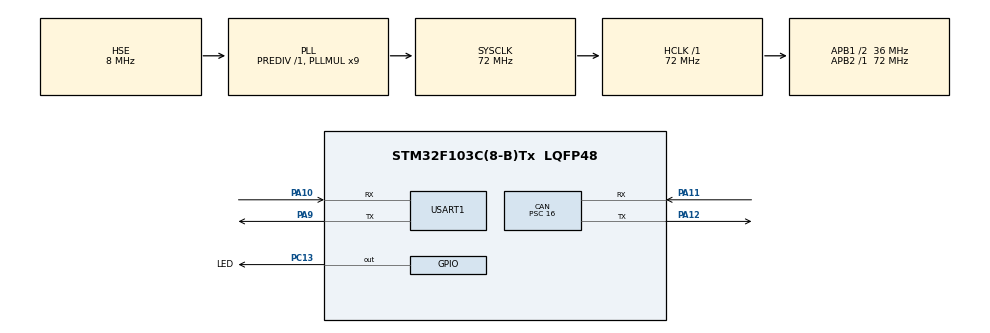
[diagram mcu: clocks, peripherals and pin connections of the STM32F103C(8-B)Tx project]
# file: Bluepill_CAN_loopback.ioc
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CAN.BS1=CAN_BS1_1TQ
CAN.BS2=CAN_BS2_1TQ
CAN.CalculateBaudRate=749999
CAN.CalculateTimeBit=1333
CAN.CalculateTimeQuantum=444.44444444444446
CAN.Mode=CAN_MODE_LOOPBACK
CAN.Prescaler=16
Mcu.Family=STM32F1
Mcu.Name=STM32F103C(8-B)Tx
Mcu.Package=LQFP48
NVIC.CAN1_RX1_IRQn=true\:0\:0\:false\:false\:true\:true\:true\:true
NVIC.CAN1_SCE_IRQn=true\:0\:0\:false\:false\:true\:true\:true\:true
NVIC.PriorityGroup=NVIC_PRIORITYGROUP_4
NVIC.USB_HP_CAN1_TX_IRQn=true\:0\:0\:false\:false\:true\:true\:true\:true
NVIC.USB_LP_CAN1_RX0_IRQn=true\:0\:0\:false\:false\:true\:true\:true\:true
PA10.Mode=Asynchronous
PA10.Signal=USART1_RX
PA11.Mode=CAN_Activate
PA11.Signal=CAN_RX
PA12.Mode=CAN_Activate
PA12.Signal=CAN_TX
PA13.Mode=Serial_Wire
PA13.Signal=SYS_JTMS-SWDIO
PA14.Mode=Serial_Wire
PA14.Signal=SYS_JTCK-SWCLK
PA9.Mode=Asynchronous
PA9.Signal=USART1_TX
PC13-TAMPER-RTC.GPIO_Label=LED
PC13-TAMPER-RTC.Signal=GPIO_Output
PD0-OSC_IN.Mode=HSE-External-Oscillator
PD0-OSC_IN.Signal=RCC_OSC_IN
PD1-OSC_OUT.Mode=HSE-External-Oscillator
PD1-OSC_OUT.Signal=RCC_OSC_OUT
ProjectManager.HeapSize=0x200
ProjectManager.StackSize=0x400
ProjectManager.TargetToolchain=STM32CubeIDE
RCC.AHBFreq_Value=72000000
RCC.APB1CLKDivider=RCC_HCLK_DIV2
RCC.APB1Freq_Value=36000000
RCC.APB1TimFreq_Value=72000000
RCC.APB2Freq_Value=72000000
RCC.APB2TimFreq_Value=72000000
RCC.HCLKFreq_Value=72000000
RCC.PLLMUL=RCC_PLL_MUL9
RCC.PLLSourceVirtual=RCC_PLLSOURCE_HSE
RCC.SYSCLKFreq_VALUE=72000000
RCC.SYSCLKSource=RCC_SYSCLKSOURCE_PLLCLK
RCC.USBFreq_Value=72000000
USART1.VirtualMode=VM_ASYNC
board=custom

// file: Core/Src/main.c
/* USER CODE BEGIN Header */
/**
  ******************************************************************************
  * @file           : main.c
  * @brief          : Main program body
  ******************************************************************************
  * @attention
  *
  * Copyright (c) 2025 STMicroelectronics.
  * All rights reserved.
  *
  * This software is licensed under terms that can be found in the LICENSE file
  * in the root directory of this software component.
  * If no LICENSE file comes with this software, it is provided AS-IS.
  *
  ******************************************************************************
  */
/* USER CODE END Header */
#include "main.h"

/* USER CODE BEGIN Includes */
#include<stdio.h>
#include<string.h>
/* USER CODE END Includes */

/* USER CODE BEGIN PD */
#define CAN_ID_1 0b11001111100  //ID1
#define CAN_ID_2 0b11001111101	//ID2

#define CAN_RX_ID 0b11001111100		//First address  0x67C
#define CAN_RX_MASK 0b11111111100	//Last 2 don't cares. So, 0x67C-FFC is filter's allowable addresses

/* USER CODE END PD */

CAN_HandleTypeDef hcan;

UART_HandleTypeDef huart1;

/* USER CODE BEGIN PV */
CAN_TxHeaderTypeDef TxHeader;
CAN_RxHeaderTypeDef RxHeader;

uint8_t TxData1[8];
char TxData2[]="CAN msg";
uint8_t RxData[8];

uint32_t msg_count = 0;

/* USER CODE END PV */

void SystemClock_Config(void);
static void MX_GPIO_Init(void);
static void MX_CAN_Init(void);
static void MX_USART1_UART_Init(void);

/* USER CODE BEGIN 0 */

int _write(int fd, char *ptr, int len){
	if(fd==1 || fd==2){
		if(HAL_UART_Transmit(&huart1, (uint8_t *)ptr, len, HAL_MAX_DELAY)==HAL_OK) return len;
		else return -1;
	}

	return -1;
}

void HAL_CAN_TxMailbox0CompleteCallback(CAN_HandleTypeDef *hcan) {
    printf("HAL_CAN_TxMailbox0CompleteCallback\r\n");
}

void HAL_CAN_TxMailbox1CompleteCallback(CAN_HandleTypeDef *hcan) {
    printf("HAL_CAN_TxMailbox1CompleteCallback\r\n");
}

void HAL_CAN_TxMailbox2CompleteCallback(CAN_HandleTypeDef *hcan) {
    printf("HAL_CAN_TxMailbox2CompleteCallback\r\n");
}

void HAL_CAN_TxMailbox0AbortCallback(CAN_HandleTypeDef *hcan) {
    printf("HAL_CAN_TxMailbox0AbortCallback\r\n");
}

void HAL_CAN_TxMailbox1AbortCallback(CAN_HandleTypeDef *hcan) {
    printf("HAL_CAN_TxMailbox1AbortCallback\r\n");
}

void HAL_CAN_TxMailbox2AbortCallback(CAN_HandleTypeDef *hcan) {
    printf("HAL_CAN_TxMailbox2AbortCallback\r\n");
}

void HAL_CAN_RxFifo0MsgPendingCallback(CAN_HandleTypeDef *hcan) {
    printf("HAL_CAN_RxFifo0MsgPendingCallback\r\n");
    if (HAL_CAN_GetRxMessage(hcan, CAN_RX_FIFO0, &RxHeader, RxData) == HAL_OK) {
    	if(RxHeader.StdId==CAN_ID_2)
    		printf("Got message %lu - id=0x%04lx type=%lx len=0x%lx, data=0x%02x%02x%02x%02x%02x%02x%02x%02x (Time in s)\r\n",
    				msg_count + 1, RxHeader.StdId, RxHeader.RTR, RxHeader.DLC, RxData[7], RxData[6], RxData[5], RxData[4], RxData[3], RxData[2], RxData[1], RxData[0]);
    	else
    		printf("Got message %lu - id=0x%04lx type=0 len=1 data=%s\r\n", msg_count + 1, RxHeader.StdId, (char *)RxData);
    }
    msg_count++;
}

void HAL_CAN_RxFifo0FullCallback(CAN_HandleTypeDef *hcan) {
    printf("HAL_CAN_RxFifo0FullCallback\r\n");
}

void HAL_CAN_RxFifo1MsgPendingCallback(CAN_HandleTypeDef *hcan) {
    printf("HAL_CAN_RxFifo1MsgPendingCallback\r\n");
}

void HAL_CAN_RxFifo1FullCallback(CAN_HandleTypeDef *hcan) {
    printf("HAL_CAN_RxFifo1FullCallback\r\n");
}

void HAL_CAN_SleepCallback(CAN_HandleTypeDef *hcan) {
    printf("HAL_CAN_SleepCallback\r\n");
}

void HAL_CAN_WakeUpFromRxMsgCallback(CAN_HandleTypeDef *hcan) {
    printf("HAL_CAN_WakeUpFromRxMsgCallback\r\n");
}

void HAL_CAN_ErrorCallback(CAN_HandleTypeDef *hcan) {
    printf("HAL_CAN_ErrorCallback\r\n");
}

/* USER CODE END 0 */

int main(void)
{

  /* MCU Configuration--------------------------------------------------------*/

  /* Reset of all peripherals, Initializes the Flash interface and the Systick. */
  HAL_Init();

  /* Configure the system clock */
  SystemClock_Config();

  /* Initialize all configured peripherals */
  MX_GPIO_Init();
  MX_CAN_Init();
  MX_USART1_UART_Init();
  /* USER CODE BEGIN 2 */
  printf("\n\n\n-------Start-------\r\n");

  CAN_FilterTypeDef filterConfig;

  filterConfig.FilterActivation=CAN_FILTER_ENABLE;
  filterConfig.FilterMode=CAN_FILTERMODE_IDMASK;
  filterConfig.FilterIdLow=CAN_RX_ID<<5;
  filterConfig.FilterMaskIdLow=CAN_RX_MASK<<5;
  filterConfig.FilterBank=0;
  filterConfig.FilterScale=CAN_FILTERSCALE_16BIT;
  filterConfig.FilterFIFOAssignment=CAN_FILTER_FIFO0;

  HAL_CAN_ConfigFilter(&hcan, &filterConfig);

  HAL_CAN_Start(&hcan);

  HAL_CAN_ActivateNotification(
		  &hcan,
		  CAN_IT_TX_MAILBOX_EMPTY |
		  CAN_IT_RX_FIFO0_MSG_PENDING |
		  CAN_IT_RX_FIFO0_FULL |
		  CAN_IT_RX_FIFO0_OVERRUN |
		  CAN_IT_RX_FIFO1_MSG_PENDING |
		  CAN_IT_RX_FIFO1_FULL |
		  CAN_IT_RX_FIFO1_OVERRUN |
		  CAN_IT_WAKEUP |
		  CAN_IT_SLEEP_ACK |
		  CAN_IT_ERROR_WARNING |
		  CAN_IT_ERROR_PASSIVE |
		  CAN_IT_BUSOFF |
		  CAN_IT_LAST_ERROR_CODE |
		  CAN_IT_ERROR
		  );

  uint32_t now=0, nextBlink=500, nextPrint=1000, nextCANtx1=5000, nextCANtx2=10000;

  /* USER CODE END 2 */

  /* Infinite loop */
  /* USER CODE BEGIN WHILE */
  while (1)
  {
	  now=uwTick;

	  uint32_t clockTime=now/1000;

	  if(now>=nextBlink){
		  HAL_GPIO_TogglePin(LED_GPIO_Port, LED_Pin);
		  nextBlink+=500;
	  }

	  if(now>=nextPrint){
		  printf("Cur. time: %lu s\r\n", now/1000);
		  nextPrint+=1000;
	  }

	  if(now>=nextCANtx1){
		  TxHeader.DLC=sizeof(TxData2);
		  TxHeader.RTR=CAN_RTR_DATA;
		  TxHeader.IDE=CAN_ID_STD;
		  TxHeader.StdId=CAN_ID_1;

		  uint32_t mailBoxNo1;
		  HAL_CAN_AddTxMessage(&hcan, &TxHeader, (uint8_t *) TxData2, &mailBoxNo1);

		  nextCANtx1+=5000;
		  msg_count++;
	  }

	  if(now>=nextCANtx2){
		  TxHeader.DLC=4;
		  TxHeader.RTR=CAN_RTR_DATA;
		  TxHeader.IDE=CAN_ID_STD;
		  TxHeader.StdId=CAN_ID_2;

		  uint32_t mailBoxNo2;
		  HAL_CAN_AddTxMessage(&hcan, &TxHeader, (uint8_t *) &clockTime, &mailBoxNo2);

		  nextCANtx2+=10000;
		  msg_count++;
	  }
    /* USER CODE END WHILE */

  }
}

void SystemClock_Config(void)
{
  RCC_OscInitTypeDef RCC_OscInitStruct = {0};
  RCC_ClkInitTypeDef RCC_ClkInitStruct = {0};

  /** Initializes the RCC Oscillators according to the specified parameters
  * in the RCC_OscInitTypeDef structure.
  */
  RCC_OscInitStruct.OscillatorType = RCC_OSCILLATORTYPE_HSE;
  RCC_OscInitStruct.HSEState = RCC_HSE_ON;
  RCC_OscInitStruct.HSEPredivValue = RCC_HSE_PREDIV_DIV1;
  RCC_OscInitStruct.HSIState = RCC_HSI_ON;
  RCC_OscInitStruct.PLL.PLLState = RCC_PLL_ON;
  RCC_OscInitStruct.PLL.PLLSource = RCC_PLLSOURCE_HSE;
  RCC_OscInitStruct.PLL.PLLMUL = RCC_PLL_MUL9;
  if (HAL_RCC_OscConfig(&RCC_OscInitStruct) != HAL_OK)
  {
    Error_Handler();
  }

  /** Initializes the CPU, AHB and APB buses clocks
  */
  RCC_ClkInitStruct.ClockType = RCC_CLOCKTYPE_HCLK|RCC_CLOCKTYPE_SYSCLK
                              |RCC_CLOCKTYPE_PCLK1|RCC_CLOCKTYPE_PCLK2;
  RCC_ClkInitStruct.SYSCLKSource = RCC_SYSCLKSOURCE_PLLCLK;
  RCC_ClkInitStruct.AHBCLKDivider = RCC_SYSCLK_DIV1;
  RCC_ClkInitStruct.APB1CLKDivider = RCC_HCLK_DIV2;
  RCC_ClkInitStruct.APB2CLKDivider = RCC_HCLK_DIV1;

  if (HAL_RCC_ClockConfig(&RCC_ClkInitStruct, FLASH_LATENCY_2) != HAL_OK)
  {
    Error_Handler();
  }
}

static void MX_CAN_Init(void)
{

  hcan.Instance = CAN1;
  hcan.Init.Prescaler = 16;
  hcan.Init.Mode = CAN_MODE_LOOPBACK;
  hcan.Init.SyncJumpWidth = CAN_SJW_1TQ;
  hcan.Init.TimeSeg1 = CAN_BS1_1TQ;
  hcan.Init.TimeSeg2 = CAN_BS2_1TQ;
  hcan.Init.TimeTriggeredMode = DISABLE;
  hcan.Init.AutoBusOff = DISABLE;
  hcan.Init.AutoWakeUp = DISABLE;
  hcan.Init.AutoRetransmission = DISABLE;
  hcan.Init.ReceiveFifoLocked = DISABLE;
  hcan.Init.TransmitFifoPriority = DISABLE;
  if (HAL_CAN_Init(&hcan) != HAL_OK)
  {
    Error_Handler();
  }

}

static void MX_USART1_UART_Init(void)
{

  huart1.Instance = USART1;
  huart1.Init.BaudRate = 115200;
  huart1.Init.WordLength = UART_WORDLENGTH_8B;
  huart1.Init.StopBits = UART_STOPBITS_1;
  huart1.Init.Parity = UART_PARITY_NONE;
  huart1.Init.Mode = UART_MODE_TX_RX;
  huart1.Init.HwFlowCtl = UART_HWCONTROL_NONE;
  huart1.Init.OverSampling = UART_OVERSAMPLING_16;
  if (HAL_UART_Init(&huart1) != HAL_OK)
  {
    Error_Handler();
  }

}

static void MX_GPIO_Init(void)
{
  GPIO_InitTypeDef GPIO_InitStruct = {0};

  /* GPIO Ports Clock Enable */
  __HAL_RCC_GPIOC_CLK_ENABLE();
  __HAL_RCC_GPIOD_CLK_ENABLE();
  __HAL_RCC_GPIOA_CLK_ENABLE();

  /*Configure GPIO pin Output Level */
  HAL_GPIO_WritePin(LED_GPIO_Port, LED_Pin, GPIO_PIN_RESET);

  /*Configure GPIO pin : LED_Pin */
  GPIO_InitStruct.Pin = LED_Pin;
  GPIO_InitStruct.Mode = GPIO_MODE_OUTPUT_PP;
  GPIO_InitStruct.Pull = GPIO_NOPULL;
  GPIO_InitStruct.Speed = GPIO_SPEED_FREQ_LOW;
  HAL_GPIO_Init(LED_GPIO_Port, &GPIO_InitStruct);

}

void Error_Handler(void)
{
  __disable_irq();
  while (1)
  {
  }
}
